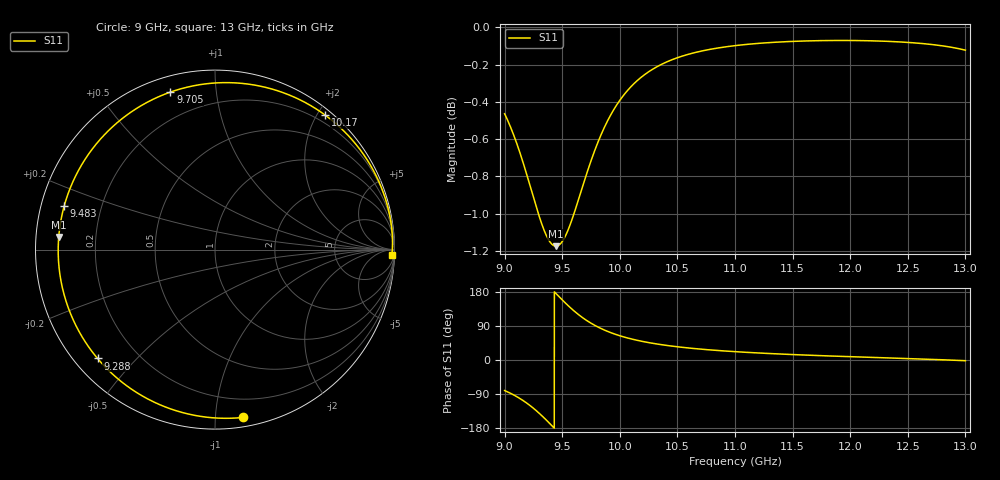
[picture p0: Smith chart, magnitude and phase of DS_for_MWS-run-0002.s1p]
! TOUCHSTONE file generated by CST DESIGN STUDIO
! Date and time: Tue Feb  4 16:07:11 2025
! Project name: C:\Work\MatlabApps\UnitCellOptimizationMatlab\CST\unitcell.cst
! Tree item: Tasks\Sweep1\SPara1\S-Parameters
! Header version: 2024
! Port assignment regex: !\s*Touchstone port\s*([0-9]+)\s*=\s*(CST MWS port|CST DES external port|CST DES block port)\s*(.+)\s* \(\"(.*)\"\)(\s*mode\s*([0-9]+))?.*
! Touchstone port assignment:
! Touchstone port 1 = CST DES external port 1 ("")
# GHz S MA R 50
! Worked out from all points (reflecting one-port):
!   4001 points, 9 GHz to 13 GHz, reference 50 ohm
!   lowest |S11| = -1.2 dB at 9.446 GHz (marker M1), VSWR 14.81, Z = 3.38 + j1.99 ohm
!   phase of S11 starts at -81 deg and turns -281 deg over the sweep
!   S11 on the Smith chart (normalised r, x): 9 GHz: 0.06, -1.18; 9.288 GHz: 0.07, -0.39; 9.483 GHz: 0.07, +0.14; 9.705 GHz: 0.07, +0.75; 10.17 GHz: 0.09, +2.11; 13 GHz: 22, -52
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9  0.948 -80.6
9.088  0.934 -93.7
9.16  0.9199 -106.9
9.226  0.9056 -121.4
9.288  0.8922 -137.2
9.332  0.8839 -149.6
9.372  0.8781 -161.5
9.409  0.8747 -173.0
9.446  0.8735 175.4
9.483  0.8747 163.9
9.5  0.876 158.7
9.553  0.8826 143.0
9.602  0.8912 129.7
9.652  0.9012 117.3
9.705  0.912 105.8
9.772  0.9249 93.2
9.851  0.9379 81.1
9.923  0.9475 72.0
10  0.9559 64.0
10.169  0.9686 50.7
10.32  0.9758 42.3
10.5  0.9814 34.9
10.723  0.9856 28.1
11  0.9887 22.0
11.5  0.9913 14.3
12  0.9919 8.7
12.5  0.9907 3.8
13  0.986 -1.9
